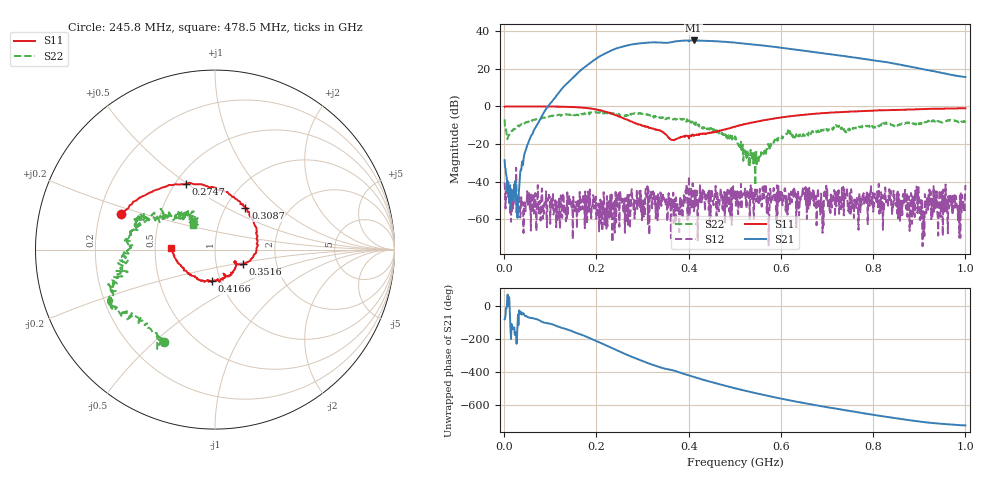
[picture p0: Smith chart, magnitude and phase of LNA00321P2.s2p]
! Created with skrf 1.9.0 (http://scikit-rf.org).
# Hz S RI R 50.0
!freq ReS11 ImS11 ReS21 ImS21 ReS12 ImS12 ReS22 ImS22
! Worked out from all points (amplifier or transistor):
!   1001 points, 1 MHz to 1 GHz, reference 50 ohm
!   highest |S21| = 35.0 dB at 410.6 MHz (marker M1)
!   |S21| within 3 dB of that: 260.7 MHz to 572 MHz (311.2 MHz wide, 74.8 % of centre)
!   unconditionally stable (mu >= 1): 3.666 MHz to 67.87 MHz; 310.8 MHz to 400.4 MHz; 400.8 MHz to end of sweep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
!   at 166.8 MHz: K = 0.82, MSG = 34.4 dB, |S12| = -49.4 dB
!   at 500.5 MHz: K = 1.66, MAG = 34.4 dB, |S12| = -44.4 dB
!   at 1 GHz: K = 1.93, MAG = 23.1 dB, |S12| = -41.8 dB
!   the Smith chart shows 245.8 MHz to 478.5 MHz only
!   S11 on the Smith chart (normalised r, x): 245.8 MHz: 0.29, +0.17; 274.7 MHz: 0.57, +0.49; 308.7 MHz: 1.23, +0.63; 351.6 MHz: 1.34, -0.23; 416.6 MHz: 0.91, -0.33; 478.5 MHz: 0.61, +0.01
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1000000  0.9766 0.00761  0.00622 -0.0369  -0.0081 -0.00495  0.3292 0.3132
1.09891e8  0.4996 -0.8578  -0.7731 -1.496  0.000124 0.0018  0.4627 -0.3558
1.67833e8  -0.2491 -0.8958  -9.467 -0.9015  0.00201 -0.00194  0.0717 -0.6305
2.11789e8  -0.6924 -0.3336  -15.43 16.87  -0.00118 -0.00166  -0.1531 -0.6725
2.45755e8  -0.5228 0.1981  0.5452 35.2  -0.000764 -0.00202  -0.2869 -0.5136
2.74726e8  -0.1633 0.3643  25.69 35.05  -0.00101 -0.00149  -0.4903 -0.3442
3.08692e8  0.1697 0.2333  47.13 13.43  -0.0027 0.00298  -0.5677 -0.208
3.34666e8  0.2362 0.018  49.18 -8.375  -0.00276 0.00188  -0.5126 -0.0691
3.51649e8  0.1537 -0.0819  44.86 -18.94  -0.00266 0.00117  -0.4667 0.0106
3.77623e8  0.1161 -0.0841  40.89 -35.75  -0.002 0.000484  -0.4519 0.1764
4.1059e8  0.0182 -0.1658  18.17 -53.24  -0.00178 -0.000724  -0.3251 0.1906
4.16584e8  -0.0171 -0.1752  13.48 -54.53  0.0029 0.00322  -0.2654 0.1773
4.45555e8  -0.1445 -0.1318  -8.719 -53.74  0.00051 -0.000523  -0.1476 0.1944
4.78522e8  -0.2434 0.00825  -29.24 -42.63  -0.000228 0.00079  -0.121 0.137
5.005e8  -0.2611 0.1204  -37.85 -31.86  -0.0055 0.00244  -0.07 0.144
5.4046e8  -0.1881 0.3288  -42.74 -10.16  0.00127 -0.00132  -0.0296 0.00684
5.88412e8  0.0178 0.484  -36.16 10.62  0.00152 -0.00489  -0.0917 -0.0869
6.67333e8  0.3962 0.49  -14.36 23.99  -0.0016 -0.00509  -0.1985 -0.0765
7.53247e8  0.6743 0.2796  3.459 19.96  -0.00501 1.74e-05  -0.2605 -0.0162
8.34166e8  0.7969 0.016  10.43 10.1  -0.00149 -0.00326  -0.3562 -0.019
9.13087e8  0.8131 -0.2598  9.197 2.147  -0.00311 -0.00199  -0.3563 0.1455
1e9  0.7256 -0.5228  5.972 -0.6409  -0.00522 -0.00627  -0.2991 0.275
